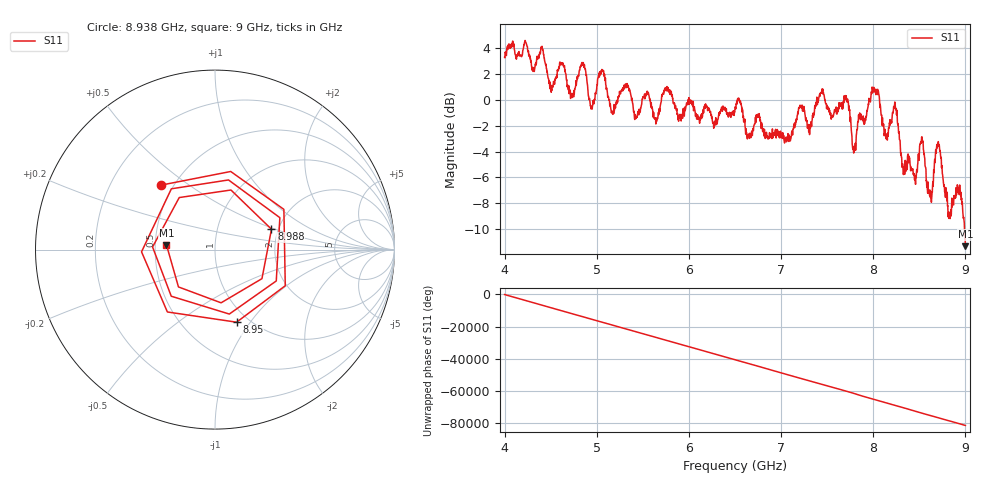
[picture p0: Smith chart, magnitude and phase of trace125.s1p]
! Created with skrf 1.8.0 (http://scikit-rf.org).
# Hz S RI R 50.0
!freq ReS11 ImS11
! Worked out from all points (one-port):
!   1601 points, 4 GHz to 9 GHz, reference 50 ohm
!   lowest |S11| = -11.3 dB at 9 GHz (marker M1), VSWR 1.75, Z = 28.7 + j1.63 ohm
!   |S11| at or under -10 dB: 8.990012 GHz to end of sweep
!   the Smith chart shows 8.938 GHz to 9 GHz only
!   S11 on the Smith chart (normalised r, x): 8.938 GHz: 0.43, +0.39; 8.95 GHz: 0.88, -0.86; 8.988 GHz: 1.84, +0.47; 9 GHz: 0.57, +0.03
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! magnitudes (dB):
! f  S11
! 4 GHz  3.3
! 4.403 GHz  4.0
! 4.506 GHz  0.6
! 4.625 GHz  2.8
! 4.725 GHz  0.3
! 4.844 GHz  2.9
! 4.944 GHz  -0.6
! 5.05 GHz  2.1
! 5.166 GHz  -1.0
! 5.25 GHz  0.5
! 5.875 GHz  -1.1
! 6.5 GHz  -0.6
! 7.125 GHz  -2.7
! 7.441 GHz  0.5
! 7.75 GHz  -1.7
! 7.794 GHz  -3.8
! 8.031 GHz  0.7
! 8.138 GHz  -2.9
! 8.238 GHz  -0.4
! 8.375 GHz  -4.2
! 8.528 GHz  -2.9
! 8.616 GHz  -7.0
! 8.703 GHz  -3.5
! 8.822 GHz  -9.2
! 8.938 GHz  -6.6
! 8.95 GHz  -7.5
! 8.988 GHz  -9.5
! 9 GHz  -11.3
